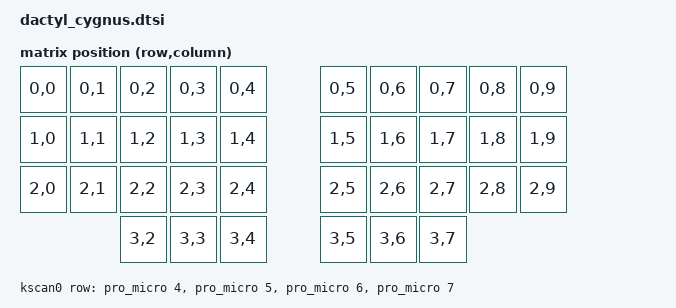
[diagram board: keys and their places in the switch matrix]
/*
 * Forked from ZMK mainline's `corne` shield (corne.dtsi), trimmed to the
 * "5 column" physical layout that Corne itself already ships as an
 * alternate option — 3 rows x 5 cols + 3 thumb keys per side = 36 keys,
 * which happens to match a Dactyl Cygnus 3x5+3 exactly. Reusing it means
 * we get a ready-made physical layout + matrix-transform for free instead
 * of hand-writing one.
 *
 * TODO: everything under kscan0 below is a PLACEHOLDER pin layout copied
 * from Corne's own wiring so this compiles out of the box. Replace
 * row-gpios here, and col-gpios in dactyl_cygnus_left.overlay /
 * dactyl_cygnus_right.overlay, with your actual soldered pins (nice!nano
 * pro_micro-numbered pins, matching your wiring diagram) before flashing.
 * See ../../../docs/dactyl-cygnus-build-notes.md.
 */

#include <dt-bindings/zmk/matrix_transform.h>
#include <layouts/foostan/corne/5column.dtsi>

&foostan_corne_5col_layout {
    transform = <&five_column_transform>;
};

/ {
    chosen {
        zmk,kscan = &kscan0;
        zmk,physical-layout = &foostan_corne_5col_layout;
    };

    five_column_transform: keymap_transform_0 {
        compatible = "zmk,matrix-transform";
        columns = <10>;
        rows = <4>;
// | SW2  | SW3  | SW4  | SW5  | SW6  |   | SW6  | SW5  | SW4  | SW3  | SW2  |
// | SW8  | SW9  | SW10 | SW11 | SW12 |   | SW12 | SW11 | SW10 | SW9  | SW8  |
// | SW14 | SW15 | SW16 | SW17 | SW18 |   | SW18 | SW17 | SW16 | SW15 | SW14 |
//               | SW19 | SW20 | SW21 |   | SW21 | SW20 | SW19 |
        map = <
RC(0,0) RC(0,1) RC(0,2) RC(0,3) RC(0,4)  RC(0,5) RC(0,6) RC(0,7) RC(0,8) RC(0,9)
RC(1,0) RC(1,1) RC(1,2) RC(1,3) RC(1,4)  RC(1,5) RC(1,6) RC(1,7) RC(1,8) RC(1,9)
RC(2,0) RC(2,1) RC(2,2) RC(2,3) RC(2,4)  RC(2,5) RC(2,6) RC(2,7) RC(2,8) RC(2,9)
                        RC(3,2) RC(3,3) RC(3,4)  RC(3,5) RC(3,6) RC(3,7)
        >;
    };

    kscan0: kscan {
        compatible = "zmk,kscan-gpio-matrix";
        wakeup-source;

        diode-direction = "col2row"; // TODO: confirm against your actual diode orientation

        // TODO PLACEHOLDER — replace with your real row wiring (4 rows:
        // 3 finger rows + 1 thumb row), shared by both halves.
        row-gpios
            = <&pro_micro 4 (GPIO_ACTIVE_HIGH | GPIO_PULL_DOWN)>
            , <&pro_micro 5 (GPIO_ACTIVE_HIGH | GPIO_PULL_DOWN)>
            , <&pro_micro 6 (GPIO_ACTIVE_HIGH | GPIO_PULL_DOWN)>
            , <&pro_micro 7 (GPIO_ACTIVE_HIGH | GPIO_PULL_DOWN)>
            ;
    };
};
